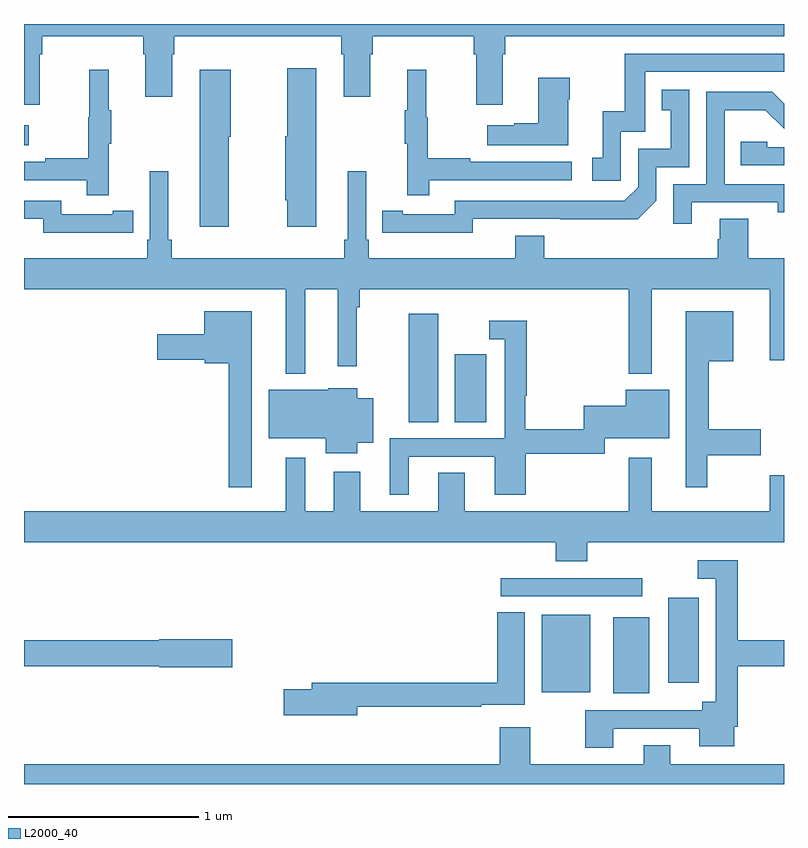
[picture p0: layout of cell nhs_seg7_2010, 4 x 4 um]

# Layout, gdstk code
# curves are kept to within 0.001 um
import gdstk
lib = gdstk.Library(unit=1e-6, precision=1e-09)
def R(c, l, rs):  # rectangles x0, y0, x1, y1
    for r in rs: c.add(gdstk.rectangle(r[:2], r[2:], *l))
def P(c, l, *ps):  # polygons
    for p in ps: c.add(gdstk.Polygon(p, *l))
L2000_40 = (2000, 40)

nhs_seg7_2010 = lib.new_cell('nhs_seg7_2010')
R(nhs_seg7_2010, L2000_40, [(248.102,1010.477,248.29,1010.878), (247.724,1010.483,247.981,1010.89), (248.39,1010.532,248.551,1010.98), (247.509,1010.988,248.254,1011.084), (247.025,1011.904,247.18,1012.474), (247.268,1011.904,247.432,1012.261), (245,1013.363,245.026,1013.467)])
P(nhs_seg7_2010, L2000_40, [(245.083,1013.84),(245.096,1013.84),(245.096,1013.936),(245.627,1013.936),(245.627,1013.84),(245.639,1013.84),(245.639,1013.616),(245.779,1013.616),(245.779,1013.84),(245.792,1013.84),(245.792,1013.936),(246.671,1013.936),(246.671,1013.84),(246.683,1013.84),(246.683,1013.616),(246.823,1013.616),(246.823,1013.84),(246.836,1013.84),(246.836,1013.936),(247.367,1013.936),(247.367,1013.84),(247.379,1013.84),(247.379,1013.574),(247.519,1013.574),(247.519,1013.84),(247.532,1013.84),(247.532,1013.936),(249,1013.936),(249,1014),(245,1014),(245,1013.574),(245.083,1013.574)],
  [(248.142,1013.433),(248.271,1013.433),(248.271,1013.748),(249,1013.748),(249,1013.844),(248.163,1013.844),(248.163,1013.542),(248.045,1013.542),(248.045,1013.295),(247.992,1013.295),(247.992,1013.175),(248.142,1013.175)],
  [(246.538,1013.767),(246.385,1013.767),(246.385,1013.409),(246.374,1013.409),(246.374,1013.073),(246.385,1013.073),(246.385,1012.932),(246.538,1012.932)],
  [(245.447,1013.371),(245.458,1013.371),(245.458,1013.545),(245.447,1013.545),(245.447,1013.758),(245.344,1013.758),(245.344,1013.508),(245.337,1013.508),(245.337,1013.294),(245.113,1013.294),(245.113,1013.274),(245,1013.274),(245,1013.178),(245.329,1013.178),(245.329,1013.1),(245.447,1013.1)],
  [(246.078,1013.406),(246.088,1013.406),(246.088,1013.758),(245.924,1013.758),(245.924,1012.932),(246.078,1012.932)],
  [(247.133,1013.178),(247.882,1013.178),(247.882,1013.274),(247.349,1013.274),(247.349,1013.294),(247.126,1013.294),(247.126,1013.508),(247.118,1013.508),(247.118,1013.758),(247.016,1013.758),(247.016,1013.545),(247.005,1013.545),(247.005,1013.371),(247.016,1013.371),(247.016,1013.1),(247.133,1013.1)],
  [(247.864,1013.603),(247.872,1013.603),(247.872,1013.716),(247.706,1013.716),(247.706,1013.477),(247.58,1013.477),(247.58,1013.467),(247.437,1013.467),(247.437,1013.363),(247.864,1013.363)],
  [(247.362,1012.974),(248.23,1012.973),(248.328,1013.07),(248.328,1013.247),(248.502,1013.247),(248.502,1013.653),(248.356,1013.653),(248.356,1013.547),(248.405,1013.547),(248.405,1013.343),(248.232,1013.343),(248.232,1013.142),(248.16,1013.07),(247.266,1013.07),(247.266,1012.998),(246.994,1012.998),(246.994,1013.018),(246.886,1013.018),(246.886,1012.902),(247.362,1012.901)],
  [(248.515,1013.061),(248.966,1013.061),(248.966,1013.01),(249,1013.01),(249,1013.157),(248.688,1013.157),(248.688,1013.546),(248.902,1013.546),(249,1013.448),(249,1013.581),(248.938,1013.643),(248.592,1013.643),(248.592,1013.157),(248.418,1013.157),(248.418,1012.95),(248.515,1012.95)],
  [(249,1013.352),(248.913,1013.352),(248.913,1013.379),(248.773,1013.379),(248.773,1013.256),(249,1013.256)],
  [(246.481,1012.604),(246.65,1012.604),(246.65,1012.2),(246.752,1012.2),(246.752,1012.508),(246.767,1012.508),(246.767,1012.604),(248.184,1012.604),(248.184,1012.16),(248.305,1012.16),(248.305,1012.604),(248.924,1012.604),(248.924,1012.23),(249,1012.23),(249,1012.768),(248.811,1012.768),(248.811,1012.976),(248.663,1012.976),(248.663,1012.866),(248.651,1012.866),(248.651,1012.768),(247.739,1012.768),(247.739,1012.885),(247.586,1012.885),(247.586,1012.768),(246.815,1012.768),(246.815,1012.864),(246.801,1012.864),(246.801,1013.224),(246.704,1013.224),(246.704,1012.864),(246.685,1012.864),(246.685,1012.768),(245.777,1012.768),(245.777,1012.864),(245.758,1012.864),(245.758,1013.224),(245.661,1013.224),(245.661,1012.864),(245.648,1012.864),(245.648,1012.768),(245,1012.768),(245,1012.604),(246.377,1012.604),(246.377,1012.16),(246.481,1012.16)],
  [(245.468,1012.902),(245.576,1012.902),(245.576,1013.018),(245.468,1013.018),(245.468,1012.998),(245.196,1012.998),(245.196,1013.07),(245,1013.07),(245,1012.974),(245.1,1012.974),(245.1,1012.901),(245.468,1012.901)],
  [(248.597,1011.73),(248.878,1011.73),(248.878,1011.867),(248.605,1011.867),(248.605,1012.226),(248.734,1012.226),(248.734,1012.489),(248.483,1012.489),(248.483,1011.561),(248.597,1011.561)],
  [(246.199,1012.489),(245.948,1012.489),(245.948,1012.366),(245.7,1012.366),(245.7,1012.232),(245.952,1012.232),(245.952,1012.214),(246.078,1012.214),(246.078,1011.561),(246.199,1011.561)],
  [(247.024,1011.723),(247.478,1011.723),(247.478,1011.522),(247.64,1011.522),(247.64,1011.738),(248.056,1011.738),(248.056,1011.821),(248.395,1011.821),(248.395,1012.075),(248.168,1012.075),(248.168,1011.992),(247.946,1011.992),(247.946,1011.866),(247.639,1011.866),(247.639,1012.043),(247.646,1012.043),(247.646,1012.438),(247.449,1012.438),(247.449,1012.341),(247.53,1012.341),(247.53,1011.819),(246.926,1011.819),(246.926,1011.522),(247.024,1011.522)],
  [(246.754,1011.797),(246.838,1011.797),(246.838,1012.03),(246.754,1012.03),(246.754,1012.084),(246.6,1012.084),(246.6,1012.075),(246.287,1012.075),(246.287,1011.821),(246.589,1011.821),(246.589,1011.74),(246.754,1011.74)],
  [(247.964,1011.272),(249,1011.272),(249,1011.625),(248.924,1011.625),(248.924,1011.436),(248.305,1011.436),(248.305,1011.718),(248.184,1011.718),(248.184,1011.436),(247.321,1011.436),(247.321,1011.638),(247.181,1011.638),(247.181,1011.436),(246.769,1011.436),(246.769,1011.643),(246.629,1011.643),(246.629,1011.436),(246.481,1011.436),(246.481,1011.718),(246.377,1011.718),(246.377,1011.436),(245,1011.436),(245,1011.272),(247.799,1011.272),(247.799,1011.173),(247.964,1011.173)],
  [(248.101,1010.292),(248.555,1010.292),(248.555,1010.198),(248.737,1010.198),(248.737,1010.302),(248.756,1010.302),(248.756,1010.62),(249,1010.62),(249,1010.756),(248.756,1010.756),(248.756,1011.177),(248.547,1011.177),(248.547,1011.081),(248.64,1011.081),(248.64,1010.434),(248.57,1010.434),(248.57,1010.388),(247.954,1010.388),(247.954,1010.19),(248.101,1010.19)],
  [(246.754,1010.406),(247.406,1010.406),(247.406,1010.418),(247.636,1010.418),(247.636,1010.903),(247.49,1010.903),(247.49,1010.534),(246.515,1010.534),(246.515,1010.498),(246.366,1010.498),(246.366,1010.363),(246.754,1010.363)],
  [(246.097,1010.762),(245.712,1010.762),(245.712,1010.756),(245,1010.756),(245,1010.62),(245.712,1010.62),(245.712,1010.615),(246.097,1010.615)],
  [(249,1010.104),(248.401,1010.104),(248.401,1010.203),(248.261,1010.203),(248.261,1010.104),(247.665,1010.104),(247.665,1010.299),(247.505,1010.299),(247.505,1010.104),(245,1010.104),(245,1010),(249,1010)])

lib.write_gds('nhs_seg7_2010.gds')
